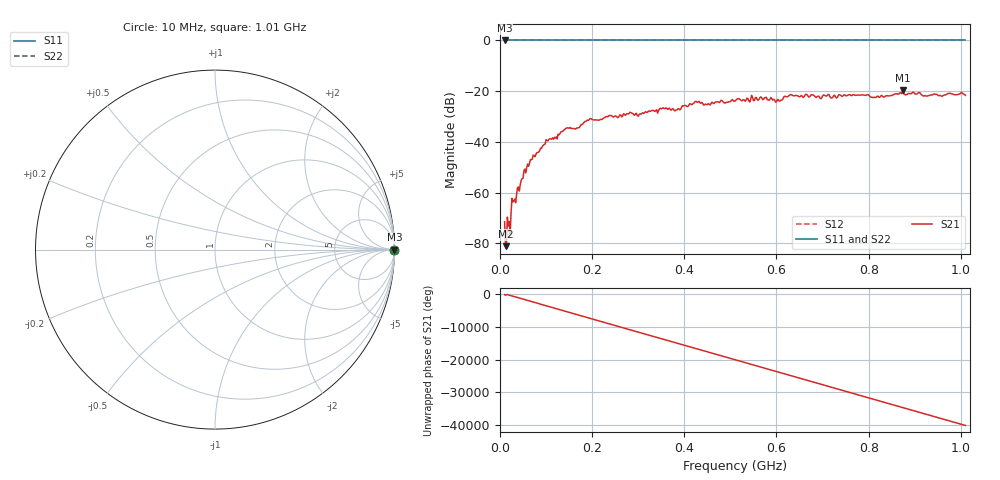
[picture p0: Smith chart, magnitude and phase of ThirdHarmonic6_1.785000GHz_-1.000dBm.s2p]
! 8/16/2025 9:35:15 PM
! C:\ANRITSUVNA\TEMP\TEMP.S2P
! CHANNEL.1
! TR.MEASUREMENT
! RAW.DATA
! RF.CORRECTION.OFF
! AVERAGING.OFF
! IF.BANDWIDTH: 5KHZ
! SWEEPTYPE:  FREQ.SWEEP(Linear)
! Reference Plane Port Info
! PORT:  PORT1  PORT2
! DISTANCE:  0  m  0  m
! TIME:  0  s  0  s
! PHASE.OFFSET:  0  deg.  0  deg.
! LOSS:  0  dB  0  dB
! REF.LOSS:  0  dB  0  dB
! REF.FREQ:  0  Hz  0  Hz
! Power Info
! POWER:  -20  dBm  -20  dBm
! EFF.POWER:  -20  dBm  -20  dBm
! SOURCE.ATTEN:  0  dB  0  dB
! TEST.ATTEN:  0  dB  0  dB
# GHZ S RI R 50.0
! FREQ.GHZ  S11RE  S11IM  S21RE  S21IM  S12RE  S12IM  S22RE  S22IM
!; PortSelection: Port_12
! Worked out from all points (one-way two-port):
!   501 points, 10 MHz to 1.01 GHz, reference 50 ohm
!   highest |S21| = -19.71 dB at 874 MHz (marker M1); lowest = -81.2 dB at 12 MHz (marker M2)
!   lowest |S11| = 0.0 dB at 10 MHz (marker M3)
!   |S11| at or under -10 dB: nowhere
!   |S22| runs from 0.0 to 0.0 dB; largest |S21 - S12| = 1.1
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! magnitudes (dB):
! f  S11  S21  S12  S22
! 10 MHz  0.0  -71.5  0.0  0.0
! 12 MHz  0.0  -81.2  0.0  0.0
! 18 MHz  0.0  -73.2  0.0  0.0
! 28 MHz  0.0  -63.7  0.0  0.0
! 50 MHz  0.0  -54.3  0.0  0.0
! 70 MHz  0.0  -46.9  0.0  0.0
! 104 MHz  0.0  -39.6  0.0  0.0
! 120 MHz  0.0  -38.5  0.0  0.0
! 144 MHz  0.0  -34.6  0.0  0.0
! 178 MHz  0.0  -33.2  0.0  0.0
! 194 MHz  0.0  -31.1  0.0  0.0
! 344 MHz  0.0  -27.7  0.0  0.0
! 382 MHz  0.0  -27.4  0.0  0.0
! 428 MHz  0.0  -24.4  0.0  0.0
! 446 MHz  0.0  -25.1  0.0  0.0
! 510 MHz  0.0  -23.9  0.0  0.0
! 602 MHz  0.0  -23.3  0.0  0.0
! 630 MHz  0.0  -21.5  0.0  0.0
! 678 MHz  0.0  -21.5  0.0  0.0
! 844 MHz  0.0  -21.9  0.0  0.0
! 874 MHz  0.0  -19.7  0.0  0.0
! 1.01 GHz  0.0  -21.6  0.0  0.0
